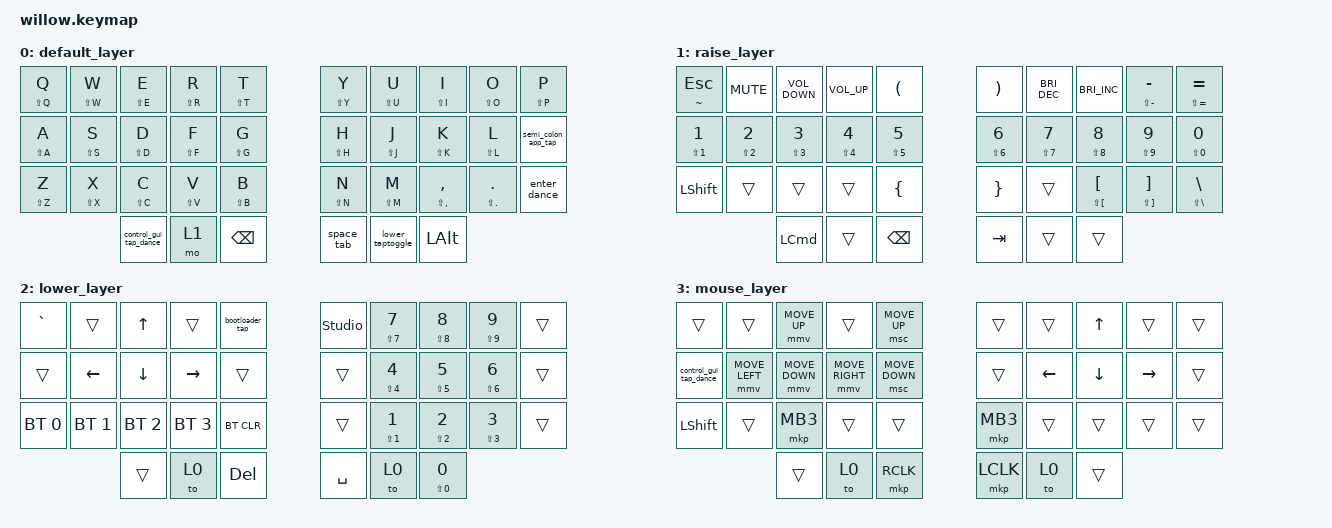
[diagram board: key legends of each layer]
#include <behaviors.dtsi>
#include <dt-bindings/zmk/bt.h>
#include <dt-bindings/zmk/keys.h>

#define ZMK_MOUSE_DEFAULT_MOVE_VAL 950
#define ZMK_MOUSE_DEFAULT_SCRL_VAL 1

#include <dt-bindings/zmk/mouse.h>
#include <behaviors/mouse_keys.dtsi>

#define DEFAULT 0
#define LOWER   1
#define RAISE   2
#define MOUSE   3

&msc {
    acceleration-exponent=<1>;
    time-to-max-speed-ms = <500>;      // 300
    delay-ms = <0>;    
};

&mmv {
    acceleration-exponent = <1>;      // 1
    time-to-max-speed-ms = <300>;     // 300
    delay-ms = <0>;                   // 0
};

/ {
    combos {
        compatible = "zmk,combos";

        mouse_layer_combo {
            bindings = <&to 3>;
            key-positions = <31 34>;
        };
    };

    behaviors {
        enter_dance: enter_dance {
            compatible = "zmk,behavior-tap-dance";
            #binding-cells = <0>;
            bindings =
                <&auto_shift_short QUESTION ENTER>,
                <&auto_shift_short LS(ENTER) SLASH>;

            tapping-term-ms = <200>;
        };

        space_tab: space_tab {
            compatible = "zmk,behavior-tap-dance";
            #binding-cells = <0>;
            bindings = <&kp SPACE>, <&kp TAB>;
        };

        lower_taptoggle: lower_taptoggle {
            compatible = "zmk,behavior-tap-dance";
            #binding-cells = <0>;
            bindings = <&mo 2>, <&to 2>;
        };

        bootloader_tap: bootloader_tap {
            compatible = "zmk,behavior-tap-dance";
            #binding-cells = <0>;
            bindings = <&none>, <&bootloader>;
        };

        auto_shift: auto_shift {
            compatible = "zmk,behavior-hold-tap";
            bindings = <&kp>, <&kp>;

            #binding-cells = <2>;
            flavor = "tap-preferred";
            tapping-term-ms = <150>;
        };

        semi_colon_app_tap: semi_colon_app_tap {
            compatible = "zmk,behavior-tap-dance";
            #binding-cells = <0>;
            bindings =
                <&auto_shift_short LS(SEMI) SEMI>,
                <&auto_shift_short LS(APOSTROPHE) APOSTROPHE>;

            tapping-term-ms = <200>;
        };

        control_gui_tap_dance: control_gui_tap_dance {
            compatible = "zmk,behavior-tap-dance";
            #binding-cells = <0>;
            bindings = <&kp LEFT_COMMAND>, <&kp LEFT_CONTROL>;
        };

        auto_shift_short: auto_shift_short {
            compatible = "zmk,behavior-hold-tap";
            bindings = <&kp>, <&kp>;

            #binding-cells = <2>;
            tapping-term-ms = <100>;
            flavor = "tap-preferred";
        };
    };

    keymap {
        compatible = "zmk,keymap";

        default_layer {
            bindings = <
&auto_shift LS(Q) Q  &auto_shift LS(W) W  &auto_shift LS(E) E     &auto_shift LS(R) R  &auto_shift LS(T) T    &auto_shift LS(Y) Y  &auto_shift LS(U) U  &auto_shift LS(I) I          &auto_shift LS(O) O      &auto_shift LS(P) P
&auto_shift LS(A) A  &auto_shift LS(S) S  &auto_shift LS(D) D     &auto_shift LS(F) F  &auto_shift LS(G) G    &auto_shift LS(H) H  &auto_shift LS(J) J  &auto_shift LS(K) K          &auto_shift LS(L) L      &semi_colon_app_tap
&auto_shift LS(Z) Z  &auto_shift LS(X) X  &auto_shift LS(C) C     &auto_shift LS(V) V  &auto_shift LS(B) B    &auto_shift LS(N) N  &auto_shift LS(M) M  &auto_shift LS(COMMA) COMMA  &auto_shift LS(DOT) DOT  &enter_dance
                                          &control_gui_tap_dance  &mo 1                &kp BACKSPACE          &space_tab           &lower_taptoggle     &kp LEFT_ALT
            >;
        };

        raise_layer {
            bindings = <
&auto_shift TILDE ESCAPE           &kp K_MUTE                         &kp C_VOLUME_DOWN                  &kp C_VOLUME_UP                    &kp LEFT_PARENTHESIS     &kp RIGHT_PARENTHESIS              &kp C_BRIGHTNESS_DEC   &kp C_BRIGHTNESS_INC                       &auto_shift LS(MINUS) MINUS                  &auto_shift LS(EQUAL) EQUAL
&auto_shift LS(NUMBER_1) NUMBER_1  &auto_shift LS(NUMBER_2) NUMBER_2  &auto_shift LS(NUMBER_3) NUMBER_3  &auto_shift LS(NUMBER_4) NUMBER_4  &auto_shift LS(N5) N5    &auto_shift LS(NUMBER_6) NUMBER_6  &auto_shift LS(N7) N7  &auto_shift LS(N8) N8                      &auto_shift LS(N9) N9                        &auto_shift LS(N0) N0
&kp LEFT_SHIFT                     &trans                             &trans                             &trans                             &kp LEFT_BRACE           &kp RIGHT_BRACE                    &trans                 &auto_shift LS(LEFT_BRACKET) LEFT_BRACKET  &auto_shift LS(RIGHT_BRACKET) RIGHT_BRACKET  &auto_shift LS(BACKSLASH) BACKSLASH
                                                                      &kp LEFT_COMMAND                   &trans                             &kp BACKSPACE            &kp TAB                            &trans                 &trans
            >;
        };

        lower_layer {
            bindings = <
&kp GRAVE     &trans        &kp UP_ARROW  &trans        &bootloader_tap    &studio_unlock     &auto_shift LS(N7) N7              &auto_shift LS(N8) N8              &auto_shift LS(N9) N9              &trans
&trans        &kp LEFT      &kp DOWN      &kp RIGHT     &trans             &trans     &auto_shift LS(NUMBER_4) NUMBER_4  &auto_shift LS(N5) N5              &auto_shift LS(NUMBER_6) NUMBER_6  &trans
&bt BT_SEL 0  &bt BT_SEL 1  &bt BT_SEL 2  &bt BT_SEL 3  &bt BT_CLR         &trans     &auto_shift LS(NUMBER_1) NUMBER_1  &auto_shift LS(NUMBER_2) NUMBER_2  &auto_shift LS(NUMBER_3) NUMBER_3  &trans
                            &trans        &to 0         &kp DELETE         &kp SPACE  &to 0                              &auto_shift LS(N0) N0
            >;
        };

        mouse_layer {
            bindings = <
&trans                  &trans          &mmv MOVE_UP    &trans           &msc MOVE_UP      &trans     &trans  &kp UP_ARROW  &trans  &trans
&control_gui_tap_dance  &mmv MOVE_LEFT  &mmv MOVE_DOWN  &mmv MOVE_RIGHT  &msc MOVE_DOWN    &trans     &kp LEFT_ARROW  &kp DOWN_ARROW  &kp RIGHT_ARROW  &trans
&kp LEFT_SHIFT          &trans          &mkp MB3        &trans           &trans            &mkp MB3     &trans  &trans  &trans  &trans
                                       &trans          &to 0            &mkp RCLK         &mkp LCLK  &to 0   &trans
            >;
        };

        extra1 {
            status = "reserved";
        };
        extra2 {
            status = "reserved";
        };
        extra3 {
            status = "reserved";
        };
    };
};
